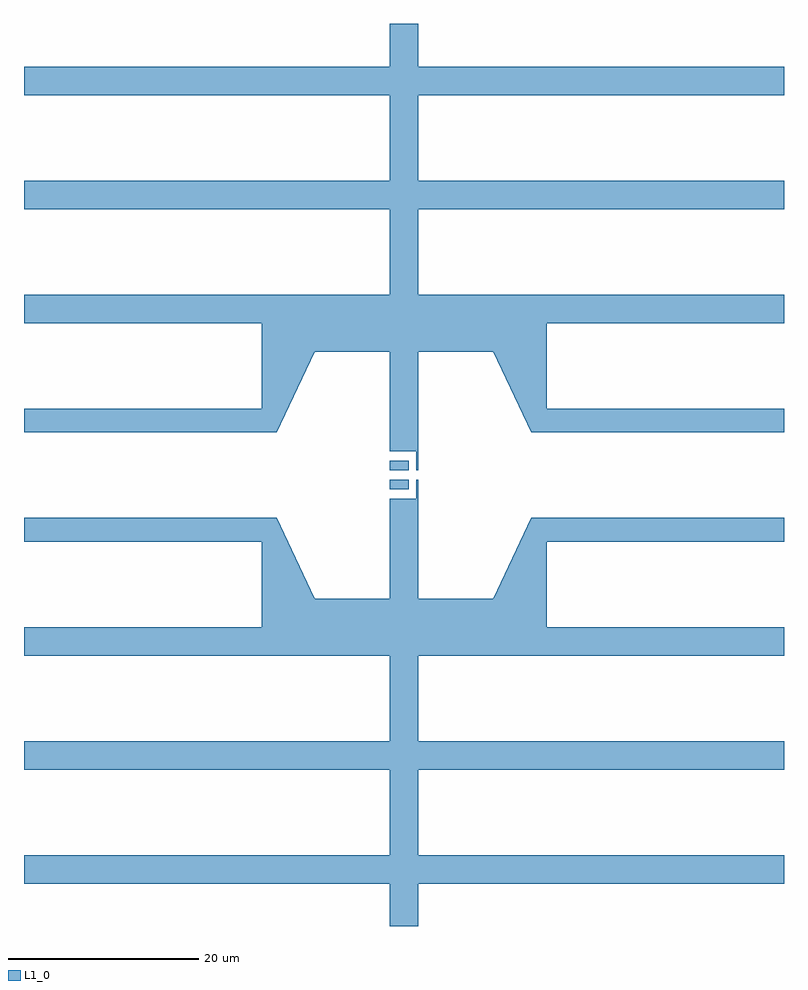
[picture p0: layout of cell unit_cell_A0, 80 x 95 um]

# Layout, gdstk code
from math import pi, radians
import gdstk
lib = gdstk.Library(unit=1e-6, precision=1e-09)
def R(c, l, rs):  # rectangles x0, y0, x1, y1
    for r in rs: c.add(gdstk.rectangle(r[:2], r[2:], *l))
def P(c, l, *ps):  # polygons
    for p in ps: c.add(gdstk.Polygon(p, *l))
L1_0 = (1, 0)

unnamed_52 = lib.new_cell('Unnamed_52')
P(unnamed_52, L1_0, [(38.5,0),(38.5,4.5),(0,4.5),(0,7.5),(38.5,7.5),(38.5,16.5),(0,16.5),(0,19.5),(38.5,19.5),(38.5,28.5),(0,28.5),(0,31.5),(25,31.5),(25,40.5),(0,40.5),(0,43),(26.597,43),(30.596,34.5),(38.5,34.5),(38.5,45),(40,45),(40,0)])

unnamed_53 = lib.new_cell('Unnamed_53')
unnamed_53.add(gdstk.Reference(unnamed_52, (0,0)))

rectangle_s2_1_lwg_cfal_ = lib.new_cell('rectangle_S2_1_LWG_CFal_a0a9c26d')
R(rectangle_s2_1_lwg_cfal_, L1_0, [(0,0,2,1)])

rectangle_s0p2_2_lwg_cf_ = lib.new_cell('rectangle_S0p2_2_LWG_CF_9ef6d549')
R(rectangle_s0p2_2_lwg_cf_, L1_0, [(0,0,0.2,2)])

unnamed_54 = lib.new_cell('Unnamed_54')
unnamed_54.add(gdstk.Reference(rectangle_s2_1_lwg_cfal_, (0,-1.5)))
unnamed_54.add(gdstk.Reference(rectangle_s0p2_2_lwg_cf_, (2.8,-2.5)))

unit_cell_a0 = lib.new_cell('unit_cell_A0')
unit_cell_a0.add(gdstk.Reference(unnamed_53, (0,0)))
unit_cell_a0.add(gdstk.Reference(unnamed_53, (80,0), rotation=pi, x_reflection=True))
unit_cell_a0.add(gdstk.Reference(unnamed_53, (0,95), x_reflection=True))
unit_cell_a0.add(gdstk.Reference(unnamed_53, (80,95), rotation=pi))
unit_cell_a0.add(gdstk.Reference(unnamed_54, (38.5,47.5)))
unit_cell_a0.add(gdstk.Reference(unnamed_54, (38.5,47.5), x_reflection=True))

lib.write_gds('unit_cell_A0.gds')
